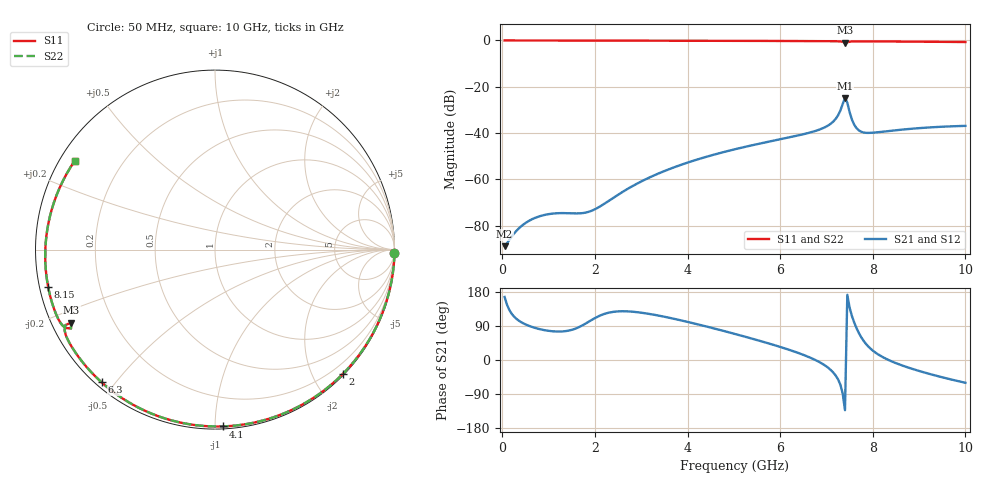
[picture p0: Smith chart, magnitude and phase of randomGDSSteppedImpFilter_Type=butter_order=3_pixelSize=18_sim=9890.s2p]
! freq	dB(S11)	phase(S11)	dB(S12)	phase(S12)
!  dB(S21)	phase(S21)	dB(S22)	phase(S22)
!S-par simulation data
#  GHz  S  DB  R 50
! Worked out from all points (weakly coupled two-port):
!   200 points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, 50 MHz to 10 GHz, reference 50 ohm
!   highest |S21| = -24.86 dB at 7.4 GHz (marker M1); lowest = -88.9 dB at 50 MHz (marker M2)
!   lowest |S11| = -0.9 dB at 7.4 GHz (marker M3), VSWR 18.71, Z = 2.82 - j11.9 ohm
!   |S11| at or under -10 dB: nowhere
!   |S22| runs from -0.9 to 0.0 dB; largest |S21 - S12| = 0
!   S11 on the Smith chart (normalised r, x): 50 MHz: open; 2 GHz: 0.02, -2.47; 4.1 GHz: 0.01, -1.04; 6.3 GHz: 0.02, -0.46; 8.15 GHz: 0.02, -0.11; 10 GHz: 0.04, +0.29
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0.05  -0.00 -1.1  -88.86 166.4  -88.86 166.4  -0.00 -1.1
0.4  -0.01 -9.0  -80.39 100.4  -80.39 100.4  -0.01 -9.0
1  -0.03 -22.3  -75.01 77.0  -75.01 77.0  -0.03 -22.3
1.75  -0.05 -38.7  -74.52 92.7  -74.52 92.7  -0.05 -38.7
2  -0.06 -44.1  -72.92 110.6  -72.92 110.6  -0.06 -44.1
2.8  -0.08 -61.0  -63.04 127.6  -63.04 127.6  -0.08 -61.0
3.4  -0.10 -73.4  -57.23 116.6  -57.23 116.6  -0.10 -73.4
4.1  -0.12 -87.5  -52.11 97.7  -52.11 97.7  -0.12 -87.5
5.05  -0.16 -106.2  -46.86 67.9  -46.86 67.9  -0.16 -106.1
6.3  -0.24 -130.5  -41.42 22.5  -41.42 22.5  -0.24 -130.5
6.7  -0.27 -138.4  -39.46 3.5  -39.46 3.5  -0.27 -138.4
7.15  -0.33 -147.9  -34.97 -33.5  -34.97 -33.5  -0.33 -147.9
7.25  -0.38 -150.3  -32.36 -51.0  -32.36 -51.0  -0.38 -150.3
7.4  -0.93 -153.1  -24.86 -132.5  -24.86 -132.5  -0.93 -153.1
7.45  -0.77 -151.3  -26.88 172.0  -26.88 172.0  -0.77 -151.3
7.55  -0.44 -153.8  -34.19 116.1  -34.19 116.1  -0.44 -153.8
7.65  -0.40 -156.3  -37.92 83.9  -37.92 83.9  -0.40 -156.3
7.8  -0.39 -159.8  -39.75 50.9  -39.75 50.9  -0.39 -159.8
8.15  -0.42 -167.4  -39.56 12.2  -39.56 12.2  -0.42 -167.4
8.35  -0.44 -171.9  -39.10 -0.5  -39.10 -0.5  -0.44 -171.9
9.2  -0.56 168.4  -37.59 -35.9  -37.59 -35.9  -0.56 168.4
10  -0.68 147.7  -36.90 -60.1  -36.90 -60.1  -0.68 147.7
